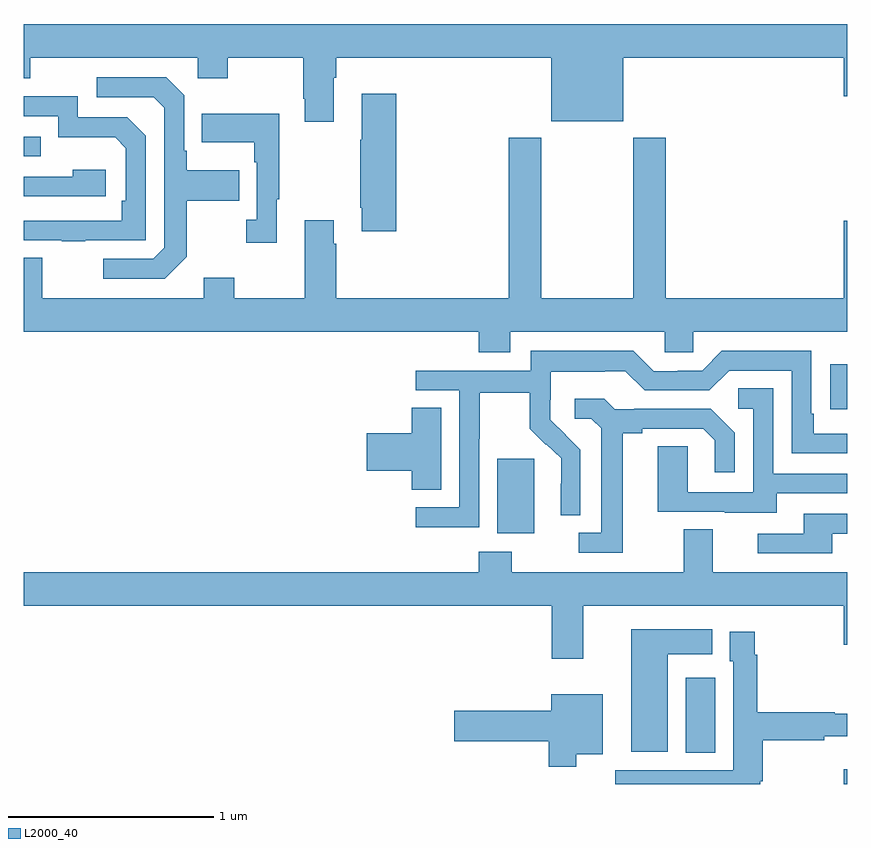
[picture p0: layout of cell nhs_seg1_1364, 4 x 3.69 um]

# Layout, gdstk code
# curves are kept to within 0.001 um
import gdstk
lib = gdstk.Library(unit=1e-6, precision=1e-09)
def R(c, l, rs):  # rectangles x0, y0, x1, y1
    for r in rs: c.add(gdstk.rectangle(r[:2], r[2:], *l))
def P(c, l, *ps):  # polygons
    for p in ps: c.add(gdstk.Polygon(p, *l))
L2000_40 = (2000, 40)

nhs_seg1_1364 = lib.new_cell('nhs_seg1_1364')
R(nhs_seg1_1364, L2000_40, [(188.984,552.199,189,552.271), (188.216,552.352,188.359,552.715), (187.301,553.418,187.48,553.779), (188.917,554.02,189,554.239), (185,555.249,185.081,555.345)])
P(nhs_seg1_1364, L2000_40, [(186.505,555.632),(186.518,555.632),(186.518,555.728),(187.562,555.728),(187.562,555.419),(187.912,555.419),(187.912,555.728),(188.984,555.728),(188.984,555.54),(189,555.54),(189,555.892),(185,555.892),(185,555.629),(185.031,555.629),(185.031,555.728),(185.844,555.728),(185.844,555.629),(185.991,555.629),(185.991,555.728),(186.358,555.728),(186.358,555.529),(186.365,555.529),(186.365,555.417),(186.505,555.417)],
  [(185.791,554.761),(185.791,555.034),(186.047,555.034),(186.047,555.181),(185.791,555.181),(185.791,555.277),(185.778,555.277),(185.778,555.546),(185.691,555.633),(185.355,555.633),(185.355,555.537),(185.631,555.537),(185.682,555.486),(185.682,554.805),(185.628,554.751),(185.385,554.751),(185.385,554.655),(185.685,554.655)],
  [(186.809,555.553),(186.641,555.553),(186.641,555.329),(186.634,555.329),(186.634,554.998),(186.641,554.998),(186.641,554.886),(186.809,554.886)],
  [(185.297,554.841),(185.592,554.841),(185.592,555.348),(185.502,555.438),(185.262,555.438),(185.262,555.54),(185,555.54),(185,555.444),(185.166,555.444),(185.166,555.341),(185.443,555.341),(185.496,555.288),(185.496,555.034),(185.476,555.034),(185.476,554.937),(185,554.937),(185,554.841),(185.185,554.841),(185.185,554.836),(185.297,554.836)],
  [(186.229,555.041),(186.241,555.041),(186.241,555.457),(185.863,555.457),(185.863,555.317),(186.12,555.317),(186.12,555.221),(186.132,555.221),(186.132,554.942),(186.081,554.942),(186.081,554.829),(186.229,554.829)],
  [(187.363,554.396),(188.115,554.396),(188.115,554.298),(188.253,554.298),(188.253,554.396),(189,554.396),(189,554.935),(188.984,554.935),(188.984,554.56),(188.12,554.56),(188.12,555.34),(187.96,555.34),(187.96,554.56),(187.515,554.56),(187.515,555.34),(187.355,555.34),(187.355,554.56),(186.518,554.56),(186.518,554.825),(186.505,554.825),(186.505,554.938),(186.365,554.938),(186.365,554.56),(186.021,554.56),(186.021,554.659),(185.873,554.659),(185.873,554.56),(185.089,554.56),(185.089,554.755),(185,554.755),(185,554.396),(187.211,554.396),(187.211,554.297),(187.363,554.297)],
  [(185.398,555.184),(185.237,555.184),(185.237,555.15),(185,555.15),(185,555.054),(185.398,555.054)],
  [(187.212,553.876),(187.215,553.876),(187.215,554.1),(187.459,554.1),(187.459,553.925),(187.536,553.848),(187.539,553.851),(187.61,553.781),(187.61,553.658),(187.608,553.658),(187.608,553.504),(187.704,553.504),(187.704,553.822),(187.558,553.97),(187.558,554.067),(187.56,554.067),(187.56,554.201),(187.823,554.201),(187.823,554.205),(187.923,554.205),(188.016,554.112),(188.331,554.112),(188.427,554.208),(188.73,554.208),(188.73,553.806),(189,553.806),(189,553.902),(188.839,553.902),(188.839,553.999),(188.826,553.999),(188.826,554.304),(188.391,554.304),(188.295,554.208),(188.177,554.208),(188.177,554.205),(188.061,554.205),(187.961,554.305),(187.464,554.305),(187.464,554.208),(186.903,554.208),(186.903,554.112),(187.116,554.112),(187.116,553.545),(186.903,553.545),(186.903,553.447),(187.212,553.447)],
  [(188.659,553.611),(189,553.611),(189,553.707),(188.64,553.707),(188.64,554.123),(188.472,554.123),(188.472,554.022),(188.544,554.022),(188.544,553.617),(188.226,553.617),(188.226,553.841),(188.081,553.841),(188.081,553.521),(188.405,553.521),(188.405,553.517),(188.659,553.517)],
  [(187.909,553.904),(188.005,553.904),(188.005,553.926),(188.3,553.926),(188.357,553.869),(188.357,553.713),(188.454,553.713),(188.454,553.906),(188.338,554.022),(187.966,554.022),(187.966,554.019),(187.872,554.019),(187.82,554.071),(187.677,554.071),(187.677,553.974),(187.758,553.974),(187.805,553.927),(187.805,553.419),(187.695,553.419),(187.695,553.323),(187.909,553.323)],
  [(187.027,554.027),(186.884,554.027),(186.884,553.904),(186.666,553.904),(186.666,553.721),(186.884,553.721),(186.884,553.63),(187.027,553.63)],
  [(188.929,553.416),(189,553.416),(189,553.512),(188.789,553.512),(188.789,553.416),(188.565,553.416),(188.565,553.32),(188.929,553.32)],
  [(187.717,553.064),(188.984,553.064),(188.984,552.876),(189,552.876),(189,553.228),(188.347,553.228),(188.347,553.436),(188.207,553.436),(188.207,553.228),(187.371,553.228),(187.371,553.327),(187.211,553.327),(187.211,553.228),(185,553.228),(185,553.064),(187.565,553.064),(187.565,552.807),(187.717,552.807)],
  [(188.128,552.83),(188.344,552.83),(188.344,552.952),(187.952,552.952),(187.952,552.356),(188.128,552.356)],
  [(188.578,552.213),(188.591,552.213),(188.591,552.412),(188.888,552.412),(188.888,552.431),(189,552.431),(189,552.541),(188.941,552.541),(188.941,552.548),(188.564,552.548),(188.564,552.827),(188.552,552.827),(188.552,552.94),(188.429,552.94),(188.429,552.795),(188.448,552.795),(188.448,552.267),(187.874,552.267),(187.874,552.199),(188.578,552.199)],
  [(187.684,552.344),(187.813,552.344),(187.813,552.634),(187.562,552.634),(187.562,552.554),(187.092,552.554),(187.092,552.407),(187.55,552.407),(187.55,552.282),(187.684,552.282)])

lib.write_gds('nhs_seg1_1364.gds')
